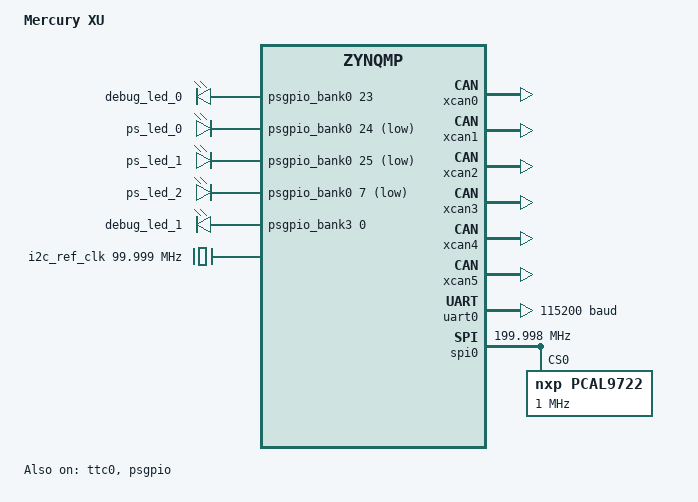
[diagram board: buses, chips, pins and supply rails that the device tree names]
/*
 * Copyright (c) 2020, Antmicro
 *
 * SPDX-License-Identifier: Apache-2.0
 */

/dts-v1/;
#include <arm/xilinx/zynqmp_rpu.dtsi>
#include "mercury_xu-pinctrl.dtsi"
#include <zephyr/dt-bindings/memory-attr/memory-attr-arm.h>
#include <zephyr/dt-bindings/gpio/gpio.h>
#include <freq.h>

/ {
	model = "Mercury XU";
	compatible = "enclustra,mercury_xu";

	chosen {
		zephyr,console = &uart0;
		zephyr,shell-uart = &uart0;
		zephyr,sram = &sram1;
		zephyr,flash = &flash0;
		zephyr,canbus = &xcan0;
	};

	leds {
		compatible = "gpio-leds";

		debug_led_0: led-0 {
			gpios = <&psgpio_bank0 23 GPIO_ACTIVE_HIGH>;
		};

		ps_led_0: led-1 {
			gpios = <&psgpio_bank0 24 GPIO_ACTIVE_LOW>;
		};

		ps_led_1: led-2 {
			gpios = <&psgpio_bank0 25 GPIO_ACTIVE_LOW>;
		};

		ps_led_2: led-3 {
			gpios = <&psgpio_bank0 7 GPIO_ACTIVE_LOW>;
		};

		debug_led_1: led-4 {
			gpios = <&psgpio_bank3 0 GPIO_ACTIVE_HIGH>;
		};
	};

	aliases {
		led0 = &debug_led_0;
	};

	fpga0: fpga {
		status = "okay";
		compatible = "xlnx,fpga";
	};

	soc {
		sram1: memory@3ed00000 {
			compatible = "zephyr,memory-region", "mmio-sram";
			reg = <0x3ed00000 DT_SIZE_K(256)>;
			zephyr,memory-region = "SRAM1";
			zephyr,memory-attr = <(DT_MEM_ARM(ATTR_MPU_RAM))>;
		};

		axi_io@80000000 {
			compatible = "zephyr,memory-region";
			reg = <0x80000000 DT_SIZE_K(6)>;
			zephyr,memory-region = "AXI_PL";
			zephyr,memory-attr = <(DT_MEM_ARM(ATTR_MPU_IO))>;
		};

		xcan0: can@80000000 {
			compatible = "xlnx,zynq-can-1.0";
			status = "okay";
			reg = <0x80000000 DT_SIZE_K(1)>;
			clock-frequency = <DT_FREQ_M(16)>;
			interrupts = <GIC_SPI 90 IRQ_TYPE_LEVEL
				      IRQ_DEFAULT_PRIORITY>;
			sample-point = <875>;
		};

		xcan1: can@80000400 {
			compatible = "xlnx,zynq-can-1.0";
			status = "okay";
			reg = <0x80000400 DT_SIZE_K(1)>;
			clock-frequency = <DT_FREQ_M(16)>;
			interrupts = <GIC_SPI 91 IRQ_TYPE_LEVEL
				      IRQ_DEFAULT_PRIORITY>;
			sample-point = <875>;
		};

		xcan2: can@80000800 {
			compatible = "xlnx,zynq-can-1.0";
			status = "okay";
			reg = <0x80000800 DT_SIZE_K(1)>;
			clock-frequency = <DT_FREQ_M(16)>;
			interrupts = <GIC_SPI 92 IRQ_TYPE_LEVEL
				      IRQ_DEFAULT_PRIORITY>;
			sample-point = <875>;
		};

		xcan3: can@80000c00 {
			compatible = "xlnx,zynq-can-1.0";
			status = "okay";
			reg = <0x80000c00 DT_SIZE_K(1)>;
			clock-frequency = <DT_FREQ_M(16)>;
			interrupts = <GIC_SPI 93 IRQ_TYPE_LEVEL
				      IRQ_DEFAULT_PRIORITY>;
			sample-point = <875>;
		};

		xcan4: can@80001000 {
			compatible = "xlnx,zynq-can-1.0";
			status = "okay";
			reg = <0x80001000 DT_SIZE_K(1)>;
			clock-frequency = <DT_FREQ_M(16)>;
			interrupts = <GIC_SPI 94 IRQ_TYPE_LEVEL
				      IRQ_DEFAULT_PRIORITY>;
			sample-point = <875>;
		};

		xcan5: can@80001400 {
			compatible = "xlnx,zynq-can-1.0";
			status = "okay";
			reg = <0x80001400 DT_SIZE_K(1)>;
			clock-frequency = <DT_FREQ_M(16)>;
			interrupts = <GIC_SPI 95 IRQ_TYPE_LEVEL
				      IRQ_DEFAULT_PRIORITY>;
			sample-point = <875>;
		};
	};

	i2c_ref_clk: i2c_ref_clk {
		compatible = "fixed-clock";
		clock-frequency = <99999001>;
		#clock-cells = <0>;
	};
};

&uart0 {
	status = "okay";
	current-speed = <115200>;
	clock-frequency = <99999901>;
	pinctrl-0 = <&uart0_default>;
	pinctrl-names = "default";
};

&uart1 {
	pinctrl-0 = <&uart1_default>;
	pinctrl-names = "default";
};

&ttc0 {
	status = "okay";
	clock-frequency = <100000000>;
};

&psgpio {
	status = "okay";
};

&spi0 {
	status = "okay";
	clock-frequency = <199998001>;

	pcal9722: gpio@0 {
		compatible = "nxp,pcal9722";
		reg = <0>;
		spi-max-frequency = <1000000>;
		addr = <0x40>;
		#gpio-cells = <2>;
		ngpios = <22>;
		gpio-controller;
	};
};

&spi1 {
	status = "disabled";
	clock-frequency = <199998001>;
};

&i2c0 {
	status = "disabled";
	clocks = <&i2c_ref_clk>;
	clock-frequency = <400000>;
};

&i2c1 {
	status = "disabled";
	clocks = <&i2c_ref_clk>;
	clock-frequency = <400000>;

	eeprom@50 {
		/* M24M02-DRMN6TP aka U4 (2 Mbit eeprom) */
		compatible = "st,m24m02", "st,m24xxx", "atmel,at24";
		reg = <0x50>;
		size = <DT_SIZE_K(256)>;
		pagesize = <256>;
		address-width = <16>;
		timeout = <5>;
	};
};

&can0 {
	clock-frequency = <DT_FREQ_M(16)>;
	status = "disabled";
};

&can1 {
	clock-frequency = <DT_FREQ_M(16)>;
	status = "disabled";
};
